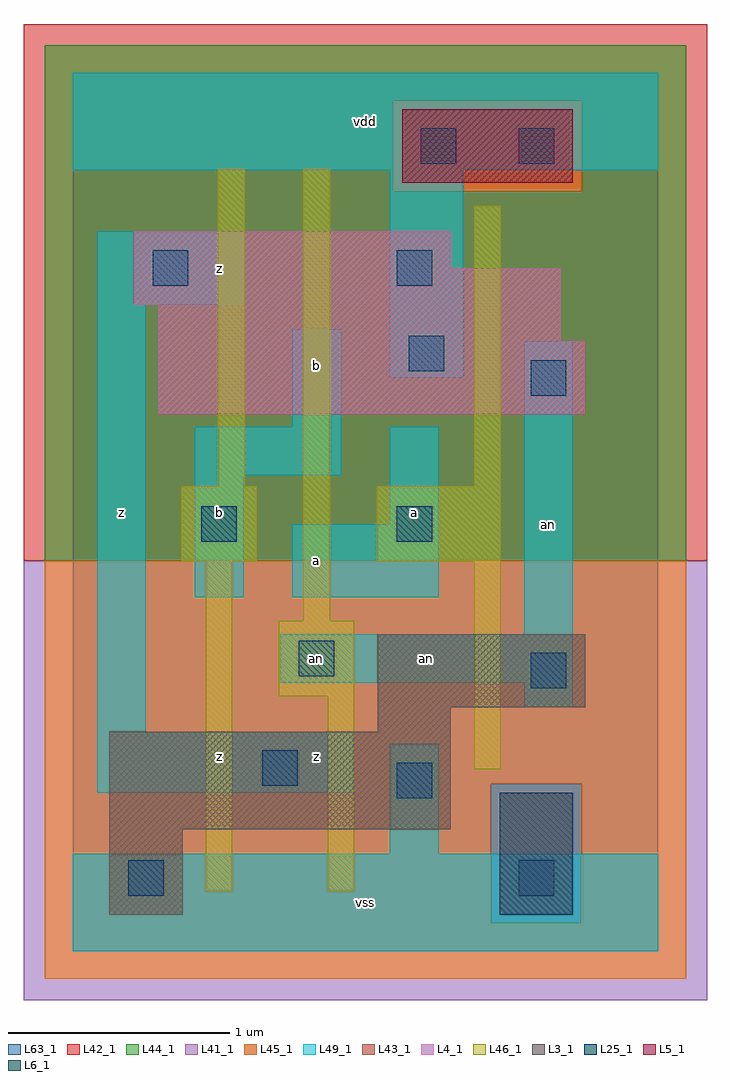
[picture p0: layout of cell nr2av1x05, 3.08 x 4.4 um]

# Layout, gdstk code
import gdstk
lib = gdstk.Library(unit=1e-6, precision=1e-09)
def R(c, l, rs):  # rectangles x0, y0, x1, y1
    for r in rs: c.add(gdstk.rectangle(r[:2], r[2:], *l))
def A(c, l, x, y, w, h, nx, ny, dx, dy):  # array of equal rectangles
    R(c, l, [(x+i*dx, y+j*dy, x+i*dx+w, y+j*dy+h) for i in range(nx) for j in range(ny)])
L3_1 = (3, 1)
L4_1 = (4, 1)
L5_1 = (5, 1)
L6_1 = (6, 1)
L25_1 = (25, 1)
L41_1 = (41, 1)
L42_1 = (42, 1)
L43_1 = (43, 1)
L44_1 = (44, 1)
L45_1 = (45, 1)
L46_1 = (46, 1)
L49_1 = (49, 1)
L63_1 = (63, 1)

nr2av1x05 = lib.new_cell('nr2av1x05')
R(nr2av1x05, L3_1, [(0.165,0.165,0.495,0.55), (0.165,0.55,1.705,0.99), (1.375,0.99,1.705,1.1), (1.375,1.1,2.31,1.43)])
R(nr2av1x05, L4_1, [(0.385,2.42,2.31,2.75), (0.385,2.75,2.2,2.915), (0.275,2.915,2.2,3.08), (0.275,3.08,1.705,3.245)])
R(nr2av1x05, L5_1, [(1.485,3.465,2.255,3.795)])
R(nr2av1x05, L6_1, [(1.925,0.165,2.255,0.715)])
A(nr2av1x05, L25_1, 1.46, 0.69, 0.16, 0.16, 1, 3, 0, 1.155)
R(nr2av1x05, L25_1, [(0.25,0.25,0.41,0.41), (2.01,0.25,2.17,0.41), (0.855,0.745,1.015,0.905), (2.065,1.185,2.225,1.345), (1.02,1.24,1.18,1.4), (0.58,1.845,0.74,2.005), (2.065,2.505,2.225,2.665), (1.515,2.615,1.675,2.775), (0.36,3,0.52,3.16), (1.57,3.55,1.73,3.71), (2.01,3.55,2.17,3.71)])
R(nr2av1x05, L41_1, [(-0.22,-0.22,2.86,1.76)])
R(nr2av1x05, L42_1, [(-0.22,1.76,2.86,4.18)])
R(nr2av1x05, L43_1, [(0.165,0.165,0.495,0.55), (1.925,0.165,2.255,0.715), (0.165,0.55,1.705,0.99), (1.375,0.99,1.705,1.1), (1.375,1.1,2.31,1.43), (0.385,2.42,2.31,2.75), (0.385,2.75,2.2,2.915), (0.275,2.915,2.2,3.08), (0.275,3.08,1.705,3.245), (1.485,3.465,2.255,3.795)])
R(nr2av1x05, L44_1, [(1.885,0.125,2.295,0.755), (-0.125,1.76,2.765,3.425), (-0.125,3.425,1.445,3.835), (2.295,3.425,2.765,3.835), (-0.125,3.835,2.765,4.085)])
R(nr2av1x05, L45_1, [(-0.125,-0.125,2.765,0.125), (-0.125,0.125,1.885,0.755), (2.295,0.125,2.765,0.755), (-0.125,0.755,2.765,1.76), (1.445,3.425,2.295,3.835)])
R(nr2av1x05, L46_1, [(0.6,0.27,0.72,1.755), (1.15,0.27,1.27,1.15), (1.81,0.82,1.93,1.755), (0.93,1.15,1.27,1.49), (1.04,1.49,1.16,3.525), (0.49,1.755,0.83,2.095), (1.37,1.755,1.93,2.095), (0.655,2.095,0.775,3.525), (1.81,2.095,1.93,3.36)])
R(nr2av1x05, L49_1, [(0,0,2.64,0.44), (1.43,0.44,1.65,0.935), (0.11,0.715,1.265,0.99), (0.11,0.99,0.33,2.915), (2.035,1.1,2.255,1.21), (0.935,1.21,2.255,1.43), (2.035,1.43,2.255,2.75), (0.55,1.595,0.77,2.145), (0.99,1.595,1.65,1.925), (1.43,1.925,1.65,2.365), (0.55,2.145,1.21,2.365), (0.99,2.365,1.21,2.805), (1.43,2.585,1.76,3.52), (0.11,2.915,0.77,3.245), (0,3.52,2.64,3.96)])
R(nr2av1x05, L63_1, [(0,0,2.64,3.96)])
nr2av1x05.add(gdstk.Label('an', (1.1,1.32), layer=49, texttype=1))
nr2av1x05.add(gdstk.Label('z', (0.22,1.98), layer=49, texttype=1))
nr2av1x05.add(gdstk.Label('z', (1.1,0.88), layer=49, texttype=1))
nr2av1x05.add(gdstk.Label('z', (0.66,0.88), layer=49, texttype=1))
nr2av1x05.add(gdstk.Label('a', (1.1,1.76), layer=49, texttype=1))
nr2av1x05.add(gdstk.Label('b', (0.66,1.98), layer=49, texttype=1))
nr2av1x05.add(gdstk.Label('b', (1.1,2.64), layer=49, texttype=1))
nr2av1x05.add(gdstk.Label('z', (0.66,3.08), layer=49, texttype=1))
nr2av1x05.add(gdstk.Label('vss', (1.32,0.22), layer=49, texttype=1))
nr2av1x05.add(gdstk.Label('a', (1.54,1.98), layer=49, texttype=1))
nr2av1x05.add(gdstk.Label('vdd', (1.32,3.74), layer=49, texttype=1))
nr2av1x05.add(gdstk.Label('an', (1.595,1.32), layer=49, texttype=1))
nr2av1x05.add(gdstk.Label('an', (2.145,1.925), layer=49, texttype=1))

lib.write_gds('nr2av1x05.gds')
